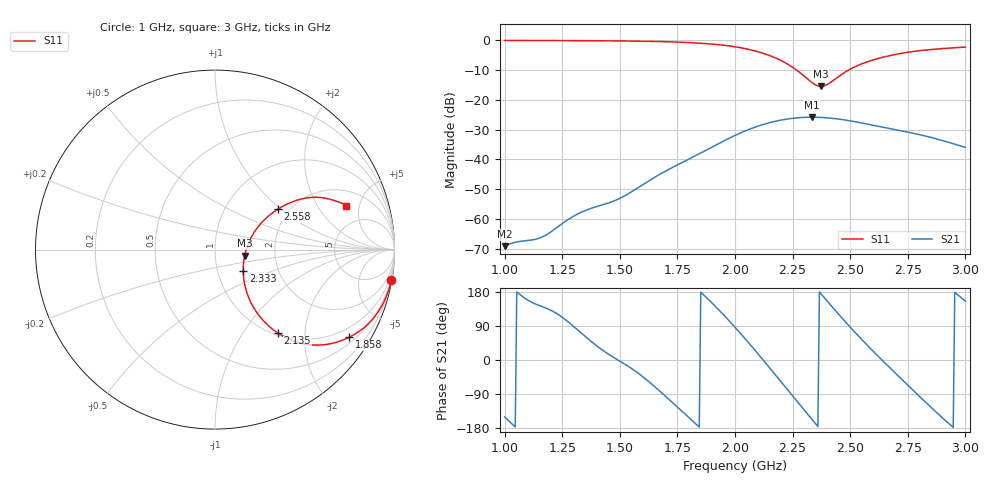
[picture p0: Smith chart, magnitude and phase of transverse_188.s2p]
! TOUCHSTONE file generated by CST MICROWAVE STUDIO
! Date and time: Tue Mar 11 13:57:37 2025
! Project name: transverse.cst
! Parameters = {Fracture=5; B=12.5; D=160; F=5; Feed=2.85625; L=100; M=20; R=0.384908; S=2; Theta=180; length=57.125; wave=114.25}
! Header version: 2024
! Port assignment regex: !\s*Touchstone port\s*([0-9]+)\s*=\s*(CST MWS port|CST DES external port|CST DES block port)\s*(.+)\s* \(\"(.*)\"\)(\s*mode\s*([0-9]+))?.*
! Touchstone port assignment:
! Touchstone port 1 = CST MWS port 1 ("")
! Touchstone port 2 = CST MWS port 2 ("")
# GHz S MA R 50
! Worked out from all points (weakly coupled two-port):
!   304 points, 1 GHz to 3 GHz, reference 50 ohm
!   highest |S21| = -25.80 dB at 2.333 GHz (marker M1); lowest = -69.1 dB at 1 GHz (marker M2)
!   lowest |S11| = -15.5 dB at 2.373 GHz (marker M3), VSWR 1.41, Z = 69.6 - j4.94 ohm
!   |S11| at or under -10 dB: 2.268 GHz to 2.492 GHz (224.3 MHz wide, 9.43 % of centre)
!   S12 and S22 are empty: the file has one direction only
!   S11 on the Smith chart (normalised r, x): 1 GHz: 0, -12; 1.858 GHz: 0.67, -3.23; 2.135 GHz: 1.03, -1.46; 2.333 GHz: 1.33, -0.33; 2.558 GHz: 1.75, +0.95; 3 GHz: 3.06, +3.71
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1  0.9978 -9.8  0.00035 -149.9  0 0.0  0 0.0
1.0462  0.997 -10.4  0.0004066 -176.7  0 0.0  0 0.0
1.15842  0.9952 -12.0  0.0004898 141.8  0 0.0  0 0.0
1.19142  0.9946 -12.5  0.0005746 133.9  0 0.0  0 0.0
1.28383  0.9918 -14.2  0.001027 96.7  0 0.0  0 0.0
1.33663  0.9896 -15.2  0.00132 69.1  0 0.0  0 0.0
1.50165  0.9798 -19.0  0.002236 -3.4  0 0.0  0 0.0
1.66667  0.9578 -24.2  0.005447 -78.4  0 0.0  0 0.0
1.85809  0.8926 -33.2  0.01327 175.3  0 0.0  0 0.0
2.0033  0.7792 -43.1  0.02569 84.2  0 0.0  0 0.0
2.06931  0.693 -48.2  0.03293 38.2  0 0.0  0 0.0
2.13531  0.5839 -52.9  0.04005 -9.6  0 0.0  0 0.0
2.23432  0.3874 -56.3  0.04827 -83.0  0 0.0  0 0.0
2.33333  0.1969 -37.1  0.0513 -156.2  0 0.0  0 0.0
2.33993  0.1887 -33.6  0.05129 -161.1  0 0.0  0 0.0
2.37294  0.1686 -11.8  0.05085 175.0  0 0.0  0 0.0
2.39934  0.1806 5.7  0.05008 156.1  0 0.0  0 0.0
2.46535  0.2725 27.9  0.04679 110.1  0 0.0  0 0.0
2.55776  0.4146 32.7  0.04048 49.2  0 0.0  0 0.0
2.66997  0.5533 30.5  0.03316 -19.3  0 0.0  0 0.0
2.82178  0.6851 24.6  0.02504 -108.2  0 0.0  0 0.0
3  0.7717 18.5  0.01599 155.2  0 0.0  0 0.0
